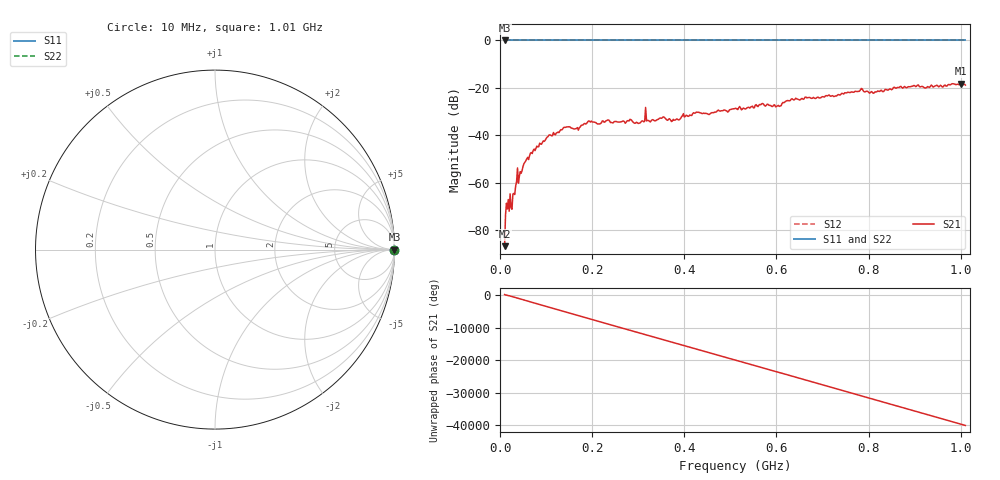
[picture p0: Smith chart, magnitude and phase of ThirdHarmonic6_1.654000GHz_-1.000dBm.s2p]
! 8/16/2025 7:48:39 PM
! C:\ANRITSUVNA\TEMP\TEMP.S2P
! CHANNEL.1
! TR.MEASUREMENT
! RAW.DATA
! RF.CORRECTION.OFF
! AVERAGING.OFF
! IF.BANDWIDTH: 5KHZ
! SWEEPTYPE:  FREQ.SWEEP(Linear)
! Reference Plane Port Info
! PORT:  PORT1  PORT2
! DISTANCE:  0  m  0  m
! TIME:  0  s  0  s
! PHASE.OFFSET:  0  deg.  0  deg.
! LOSS:  0  dB  0  dB
! REF.LOSS:  0  dB  0  dB
! REF.FREQ:  0  Hz  0  Hz
! Power Info
! POWER:  -20  dBm  -20  dBm
! EFF.POWER:  -20  dBm  -20  dBm
! SOURCE.ATTEN:  0  dB  0  dB
! TEST.ATTEN:  0  dB  0  dB
# GHZ S RI R 50.0
! FREQ.GHZ  S11RE  S11IM  S21RE  S21IM  S12RE  S12IM  S22RE  S22IM
!; PortSelection: Port_12
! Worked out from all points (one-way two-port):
!   501 points, 10 MHz to 1.01 GHz, reference 50 ohm
!   highest |S21| = -18.25 dB at 1 GHz (marker M1); lowest = -86.9 dB at 10 MHz (marker M2)
!   lowest |S11| = 0.0 dB at 10 MHz (marker M3)
!   |S11| at or under -10 dB: nowhere
!   |S22| runs from 0.0 to 0.0 dB; largest |S21 - S12| = 1.1
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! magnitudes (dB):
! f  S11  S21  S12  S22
! 10 MHz  0.0  -86.9  0.0  0.0
! 18 MHz  0.0  -67.2  0.0  0.0
! 28 MHz  0.0  -64.9  0.0  0.0
! 34 MHz  0.0  -61.4  0.0  0.0
! 40 MHz  0.0  -60.2  0.0  0.0
! 70 MHz  0.0  -47.7  0.0  0.0
! 106 MHz  0.0  -40.0  0.0  0.0
! 142 MHz  0.0  -36.7  0.0  0.0
! 178 MHz  0.0  -35.7  0.0  0.0
! 194 MHz  0.0  -34.0  0.0  0.0
! 298 MHz  0.0  -34.7  0.0  0.0
! 312 MHz  0.0  -34.4  0.0  0.0
! 344 MHz  0.0  -33.3  0.0  0.0
! 376 MHz  0.0  -33.3  0.0  0.0
! 424 MHz  0.0  -30.7  0.0  0.0
! 510 MHz  0.0  -28.7  0.0  0.0
! 602 MHz  0.0  -27.6  0.0  0.0
! 632 MHz  0.0  -24.8  0.0  0.0
! 678 MHz  0.0  -24.4  0.0  0.0
! 844 MHz  0.0  -20.7  0.0  0.0
! 1 GHz  0.0  -18.2  0.0  0.0
! 1.01 GHz  0.0  -18.9  0.0  0.0
